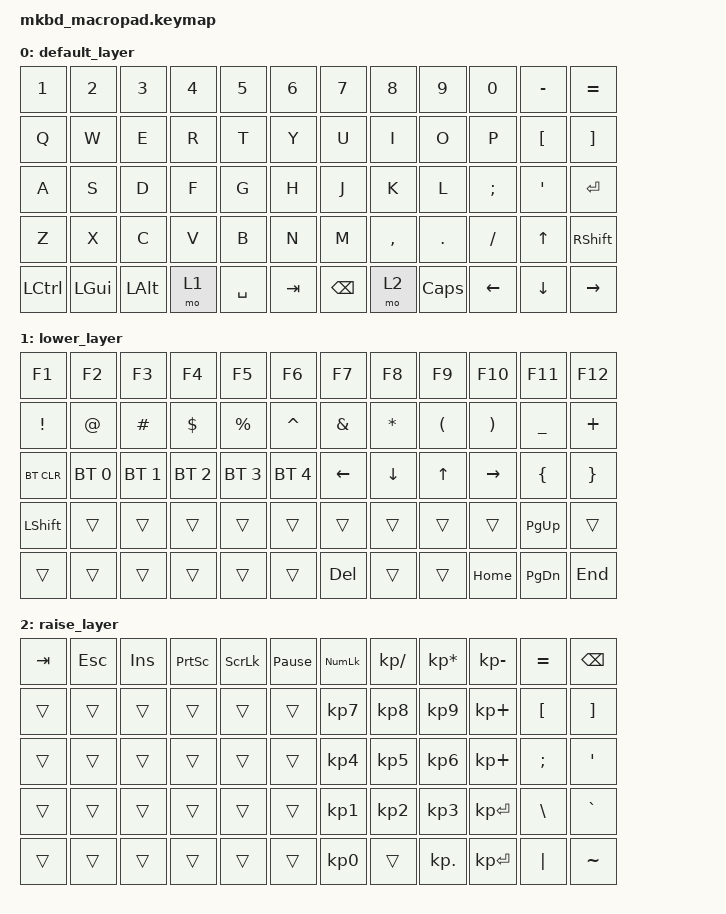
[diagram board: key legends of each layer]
#include <behaviors.dtsi>
#include <dt-bindings/zmk/keys.h>
#include <dt-bindings/zmk/bt.h>

/ {
        keymap {
                compatible = "zmk,keymap";

                default_layer {
// -----------------------------------------------------------------------------------------
// |  1   |  2  |  3  |  4  |  5  |  6  |   |  7  |  8  |  9  |  0  |  -  |  =  |
// |  Q   |  W  |  E  |  R  |  T  |  Y  |   |  U  |  I  |  O  |  P  |  [  |  ]  |
// |  A   |  S  |  D  |  F  |  G  |  H  |   |  J  |  K  |  L  |  ;  |  '  |ENTER|
// |  Z   |  X  |  C  |  V  |  B  |  N  |   |  M  |  ,  |  .  |  /  | UP  |SHIFT|
// |CTRL  |WIN  |ALT  |LWR  |SPC  |TAB  |   |BSPC |RSE  |CAPS |LEFT |DOWN |RIGHT|
                        bindings = <
   &kp N1    &kp N2   &kp N3   &kp N4   &kp N5    &kp N6       &kp N7    &kp N8   &kp N9   &kp N0    &kp MINUS &kp EQUAL
   &kp Q     &kp W    &kp E    &kp R    &kp T     &kp Y        &kp U     &kp I    &kp O    &kp P     &kp LBKT  &kp RBKT
   &kp A     &kp S    &kp D    &kp F    &kp G     &kp H        &kp J     &kp K    &kp L    &kp SEMI  &kp SQT   &kp RET
   &kp Z     &kp X    &kp C    &kp V    &kp B     &kp N        &kp M     &kp COMMA &kp DOT &kp FSLH  &kp UP    &kp RSHFT
   &kp LCTRL &kp LGUI &kp LALT &mo 1    &kp SPACE &kp TAB      &kp BSPC  &mo 2    &kp CAPS &kp LEFT  &kp DOWN  &kp RIGHT
                        >;
                };
                lower_layer {
// -----------------------------------------------------------------------------------------
// |  F1  | F2  | F3  | F4  | F5  | F6  |   | F7  | F8  | F9  | F10 | F11 | F12 |
// |  !   |  @  |  #  |  $  |  %  |  ^  |   |  &  |  *  |  (  |  )  |  _  |  +  |
// |BTCLR | BT1 | BT2 | BT3 | BT4 | BT5 |   | LFT | DWN |  UP | RGT |  {  |  }  |
// |SHIFT |     |     |     |     |     |   |     |     |     |     |PGUP |     |
// |      |     |     |     |     |     |   | DEL |     |     |HOME |PGDN | END |
                        bindings = <
   &kp F1     &kp F2       &kp F3       &kp F4       &kp F5       &kp F6         &kp F7   &kp F8   &kp F9   &kp F10   &kp F11   &kp F12
   &kp EXCL   &kp AT       &kp HASH     &kp DLLR     &kp PRCNT    &kp CARET      &kp AMPS &kp ASTRK &kp LPAR &kp RPAR  &kp UNDER &kp PLUS
   &bt BT_CLR &bt BT_SEL 0 &bt BT_SEL 1 &bt BT_SEL 2 &bt BT_SEL 3 &bt BT_SEL 4   &kp LEFT &kp DOWN &kp UP   &kp RIGHT &kp LBRC  &kp RBRC
   &kp LSHFT  &trans       &trans       &trans       &trans       &trans         &trans   &trans   &trans   &trans    &kp PG_UP &trans
   &trans     &trans       &trans       &trans       &trans       &trans         &kp DEL  &trans   &trans   &kp HOME  &kp PG_DN &kp END
                        >;
                };

                raise_layer {
// -----------------------------------------------------------------------------------------
// | TAB  | ESC | INS | PSCR| SLCK| PAUS|   | NUM | /   | *   | -   | =   | BSPC|
// |      |     |     |     |     |     |   |  7  |  8  |  9  | +   | [   | ]   |
// |      |     |     |     |     |     |   |  4  |  5  |  6  | +   | ;   | '   |
// |      |     |     |     |     |     |   |  1  |  2  |  3  |ENTER| \   | `   |
// |      |     |     |     |     |     |   |  0  |     | .   |ENTER| |   | ~   |
                        bindings = <
   &kp TAB   &kp ESC  &kp INS  &kp PSCRN &kp SLCK &kp PAUSE_BREAK   &kp KP_NUM &kp KP_DIVIDE &kp KP_MULTIPLY &kp KP_MINUS &kp EQUAL &kp BSPC
   &trans    &trans   &trans   &trans    &trans   &trans            &kp KP_N7  &kp KP_N8     &kp KP_N9       &kp KP_PLUS  &kp LBKT  &kp RBKT
   &trans    &trans   &trans   &trans    &trans   &trans            &kp KP_N4  &kp KP_N5     &kp KP_N6       &kp KP_PLUS  &kp SEMI  &kp SQT
   &trans    &trans   &trans   &trans    &trans   &trans            &kp KP_N1  &kp KP_N2     &kp KP_N3       &kp KP_ENTER &kp BSLH  &kp GRAVE
   &trans    &trans   &trans   &trans    &trans   &trans            &kp KP_N0  &trans        &kp KP_DOT      &kp KP_ENTER &kp PIPE  &kp TILDE
                        >;
                };
        };
};
